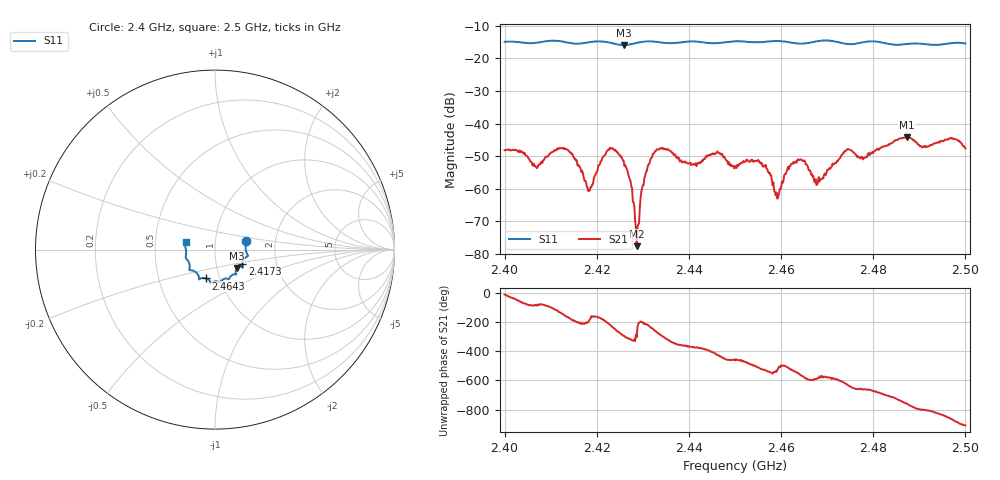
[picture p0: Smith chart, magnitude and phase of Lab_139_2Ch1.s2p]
# Hz S RI R 50
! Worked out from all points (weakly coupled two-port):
!   601 points, 2.4 GHz to 2.5 GHz, reference 50 ohm
!   highest |S21| = -44.16 dB at 2.4873 GHz (marker M1); lowest = -77.6 dB at 2.4287 GHz (marker M2)
!   lowest |S11| = -15.9 dB at 2.4258 GHz (marker M3), VSWR 1.38, Z = 62.3 - j13.3 ohm
!   |S11| at or under -10 dB: start of sweep to end of sweep
!   S12 and S22 are empty: the file has one direction only
!   S11 on the Smith chart (normalised r, x): 2.4 GHz: 1.41, +0.14; 2.4173 GHz: 1.34, -0.22; 2.4643 GHz: 0.86, -0.28; 2.5 GHz: 0.72, +0.06
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2.4e9  0.1728 0.0488  0.00381 -0.000792  0 0  0 0
2.407e9  0.1736 -0.0103  6.49e-05 -0.00207  0 0  0 0
2.413e9  0.1738 -0.0414  -0.00378 -0.00182  0 0  0 0
2.416667e9  0.1525 -0.0742  -0.00162 0.000758  0 0  0 0
2.417333e9  0.1518 -0.0816  -0.00111 0.00071  0 0  0 0
2.418667e9  0.1527 -0.093  -0.00105 -9.24e-05  0 0  0 0
2.422833e9  0.1469 -0.0942  -0.00336 0.00259  0 0  0 0
2.425833e9  0.1219 -0.1036  0.0011 0.00246  0 0  0 0
2.427167e9  0.1159 -0.1158  0.00104 0.000963  0 0  0 0
2.428667e9  0.1151 -0.1291  7.27e-05 0.000109  0 0  0 0
2.430833e9  0.1186 -0.1385  -0.00152 0.00106  0 0  0 0
2.433333e9  0.1129 -0.1372  0.000422 0.00399  0 0  0 0
2.45e9  0.0291 -0.181  -0.000496 -0.00218  0 0  0 0
2.455333e9  -0.000972 -0.1769  -0.0023 -0.00102  0 0  0 0
2.459167e9  -0.0229 -0.1838  -0.000686 -0.000163  0 0  0 0
2.464333e9  -0.0499 -0.1606  -0.00252 0.00124  0 0  0 0
2.466667e9  -0.0759 -0.1594  -0.00092 0.00142  0 0  0 0
2.468167e9  -0.0855 -0.164  -0.00108 0.00106  0 0  0 0
2.474333e9  -0.1001 -0.1326  -0.000187 0.00403  0 0  0 0
2.483333e9  -0.1407 -0.09  0.0045 0.00119  0 0  0 0
2.487333e9  -0.1573 -0.0538  0.00475 -0.00397  0 0  0 0
2.5e9  -0.1641 0.0427  -0.00412 0.000595  0 0  0 0
